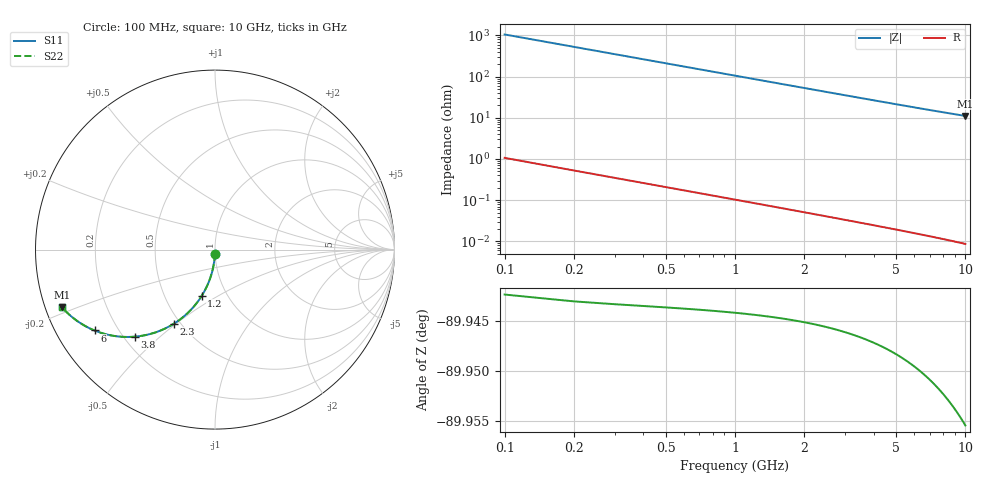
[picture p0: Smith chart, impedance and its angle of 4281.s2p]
# Hz S RI R 50.00
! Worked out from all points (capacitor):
!   100 points, 100 MHz to 10 GHz, reference 50 ohm
!   read as one part in shunt: C = 1.5 pF near 100 MHz
!   lowest |Z| = 11.1 ohm at 10 GHz (marker M1)
!   S11 on the Smith chart (normalised r, x): 100 MHz: 1.00, -0.05; 1.2 GHz: 0.76, -0.42; 2.3 GHz: 0.46, -0.49; 3.8 GHz: 0.24, -0.42; 6 GHz: 0.12, -0.30; 10 GHz: 0.05, -0.18
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1e8  -0.000497 -0.0233  0.9993 -0.0239  0.9993 -0.0239  -0.000497 -0.0233
2e8  -0.00219 -0.0465  0.9976 -0.0478  0.9976 -0.0478  -0.00219 -0.0465
3e8  -0.00498 -0.0696  0.9948 -0.0714  0.9948 -0.0714  -0.00498 -0.0696
4e8  -0.00886 -0.0925  0.991 -0.0949  0.991 -0.0949  -0.00886 -0.0925
5e8  -0.0138 -0.115  0.986 -0.118  0.986 -0.118  -0.0138 -0.115
6e8  -0.0198 -0.1372  0.9801 -0.1408  0.9801 -0.1408  -0.0198 -0.1372
7e8  -0.0267 -0.1589  0.9731 -0.1631  0.9731 -0.1631  -0.0267 -0.1589
9e8  -0.0434 -0.2007  0.9564 -0.2062  0.9564 -0.2062  -0.0434 -0.2007
1.2e9  -0.0746 -0.2588  0.9252 -0.266  0.9252 -0.266  -0.0746 -0.2588
1.5e9  -0.1119 -0.3103  0.8879 -0.3194  0.8879 -0.3194  -0.1119 -0.3103
1.8e9  -0.1535 -0.3547  0.8462 -0.3656  0.8462 -0.3656  -0.1535 -0.3547
2.3e9  -0.2286 -0.4125  0.7712 -0.4265  0.7712 -0.4265  -0.2286 -0.4125
2.8e9  -0.3053 -0.4516  0.6944 -0.4686  0.6944 -0.4686  -0.3053 -0.4516
3.4e9  -0.3934 -0.4777  0.6062 -0.4984  0.6062 -0.4984  -0.3934 -0.4777
3.8e9  -0.4478 -0.4852  0.5517 -0.5084  0.5517 -0.5084  -0.4478 -0.4852
4.4e9  -0.5214 -0.4855  0.4781 -0.5125  0.4781 -0.5125  -0.5214 -0.4855
5.1e9  -0.5946 -0.4747  0.4047 -0.5061  0.4047 -0.5061  -0.5946 -0.4747
6e9  -0.6708 -0.4507  0.3283 -0.4878  0.3283 -0.4878  -0.6708 -0.4507
6.7e9  -0.7183 -0.4283  0.2807 -0.4699  0.2807 -0.4699  -0.7183 -0.4283
7.5e9  -0.7623 -0.4013  0.2364 -0.4481  0.2364 -0.4481  -0.7623 -0.4013
8.4e9  -0.8017 -0.3712  0.1967 -0.4239  0.1967 -0.4239  -0.8017 -0.3712
1e10  -0.8526 -0.3211  0.1451 -0.3845  0.1451 -0.3845  -0.8526 -0.3211
